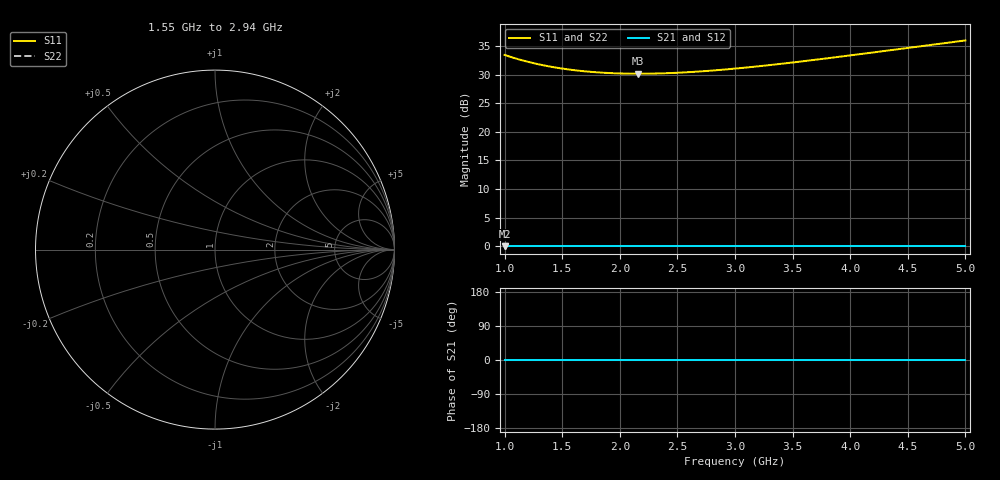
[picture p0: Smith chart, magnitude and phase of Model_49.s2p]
# GHZ S RI R 50
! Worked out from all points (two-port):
!   401 points, 1 GHz to 5 GHz, reference 50 ohm
!   highest |S21| = 0.00 dB at 1 GHz (marker M1); lowest = 0.0 dB at 1 GHz (marker M2)
!   |S21| within 3 dB of the highest: start of sweep to end of sweep
!   lowest |S11| = 30.2 dB at 2.16 GHz (marker M3)
!   |S11| at or under -10 dB: nowhere
!   |S22| runs from 30.2 to 36.0 dB; largest |S21 - S12| = 0
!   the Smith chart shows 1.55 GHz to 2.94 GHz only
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1  47.1 0  1 0  1 0  47.1 0
1.15  42.33 0  1 0  1 0  42.33 0
1.22  40.59 0  1 0  1 0  40.59 0
1.3  38.9 0  1 0  1 0  38.9 0
1.39  37.32 0  1 0  1 0  37.32 0
1.48  36.03 0  1 0  1 0  36.03 0
1.57  34.98 0  1 0  1 0  34.98 0
1.67  34.06 0  1 0  1 0  34.06 0
1.78  33.3 0  1 0  1 0  33.3 0
1.9  32.73 0  1 0  1 0  32.73 0
2.03  32.37 0  1 0  1 0  32.37 0
2.16  32.25 0  1 0  1 0  32.25 0
2.34  32.43 0  1 0  1 0  32.43 0
2.5  32.89 0  1 0  1 0  32.89 0
2.66  33.58 0  1 0  1 0  33.58 0
3  35.75 0  1 0  1 0  35.75 0
3.33  38.67 0  1 0  1 0  38.67 0
3.67  42.4 0  1 0  1 0  42.4 0
4  46.66 0  1 0  1 0  46.66 0
4.34  51.66 0  1 0  1 0  51.66 0
4.63  56.4 0  1 0  1 0  56.4 0
5  63.05 0  1 0  1 0  63.05 0
